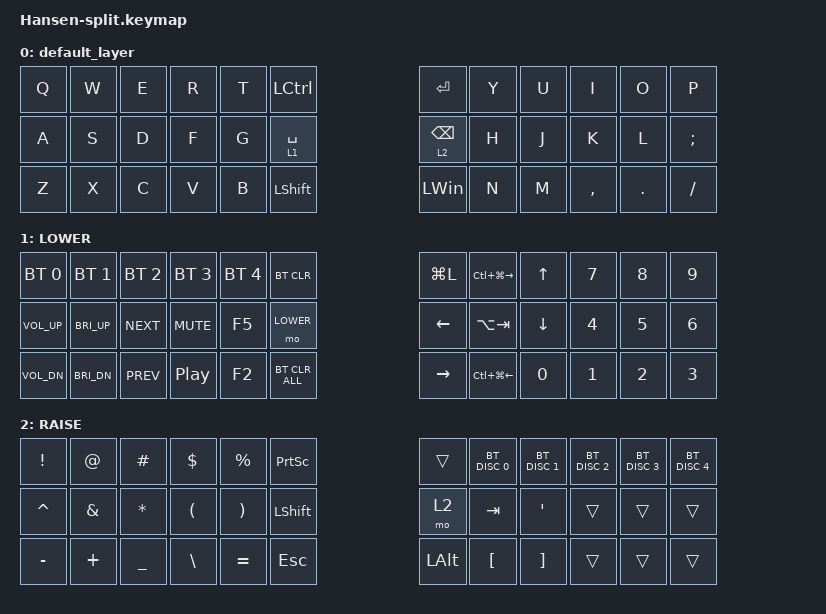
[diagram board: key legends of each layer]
#include <behaviors.dtsi>
#include <dt-bindings/zmk/bt.h>
#include <dt-bindings/zmk/keys.h>

#define DEFAULT 0
#define LOWER   1
#define RAISE   2

/ {
    combos {
        compatible = "zmk,combos";

        delll {
            bindings = <&kp DEL>;
            key-positions = <29 18>;
            layers = <0>;
        };

        c-s-paste {
            bindings = <&kp LC(LS(V))>;
            key-positions = <5 27>;
        };
    };

    keymap {
        compatible = "zmk,keymap";

        default_layer {
            bindings = <
&kp Q  &kp W  &kp E  &kp R  &kp T  &kp LEFT_CONTROL  &kp ENTER   &kp Y  &kp U  &kp I      &kp O    &kp P
&kp A  &kp S  &kp D  &kp F  &kp G  &lt 1 SPACE       &lt 2 BSPC  &kp H  &kp J  &kp K      &kp L    &kp SEMI
&kp Z  &kp X  &kp C  &kp V  &kp B  &kp LEFT_SHIFT    &kp LWIN    &kp N  &kp M  &kp COMMA  &kp DOT  &kp FSLH
            >;
        };

        LOWER {
            bindings = <
&bt BT_SEL 0  &bt BT_SEL 1  &bt BT_SEL 2  &bt BT_SEL 3      &bt BT_SEL 4  &bt BT_CLR      &kp LG(L)  &kp LC(LG(RIGHT))  &kp UP    &kp N7  &kp N8  &kp N9
&kp C_VOL_UP  &kp C_BRI_UP  &kp C_NEXT    &kp C_MUTE        &kp F5        &mo LOWER       &kp LEFT   &kp LA(TAB)        &kp DOWN  &kp N4  &kp N5  &kp N6
&kp C_VOL_DN  &kp C_BRI_DN  &kp C_PREV    &kp C_PLAY_PAUSE  &kp F2        &bt BT_CLR_ALL  &kp RIGHT  &kp LC(LG(LEFT))   &kp N0    &kp N1  &kp N2  &kp N3
            >;
        };

        RAISE {
            bindings = <
&kp EXCL   &kp AT         &kp HASH        &kp DLLR  &kp PRCNT  &kp PRINTSCREEN  &trans        &bt BT_DISC 0     &bt BT_DISC 1      &bt BT_DISC 2  &bt BT_DISC 3  &bt BT_DISC 4
&kp CARET  &kp AMPERSAND  &kp ASTRK       &kp LPAR  &kp RPAR   &kp LEFT_SHIFT   &mo 2         &kp TAB           &kp SQT            &trans         &trans         &trans
&kp MINUS  &kp PLUS       &kp UNDERSCORE  &kp BSLH  &kp EQUAL  &kp ESC          &kp LEFT_ALT  &kp LEFT_BRACKET  &kp RIGHT_BRACKET  &trans         &trans         &trans
            >;
        };
    };
};
